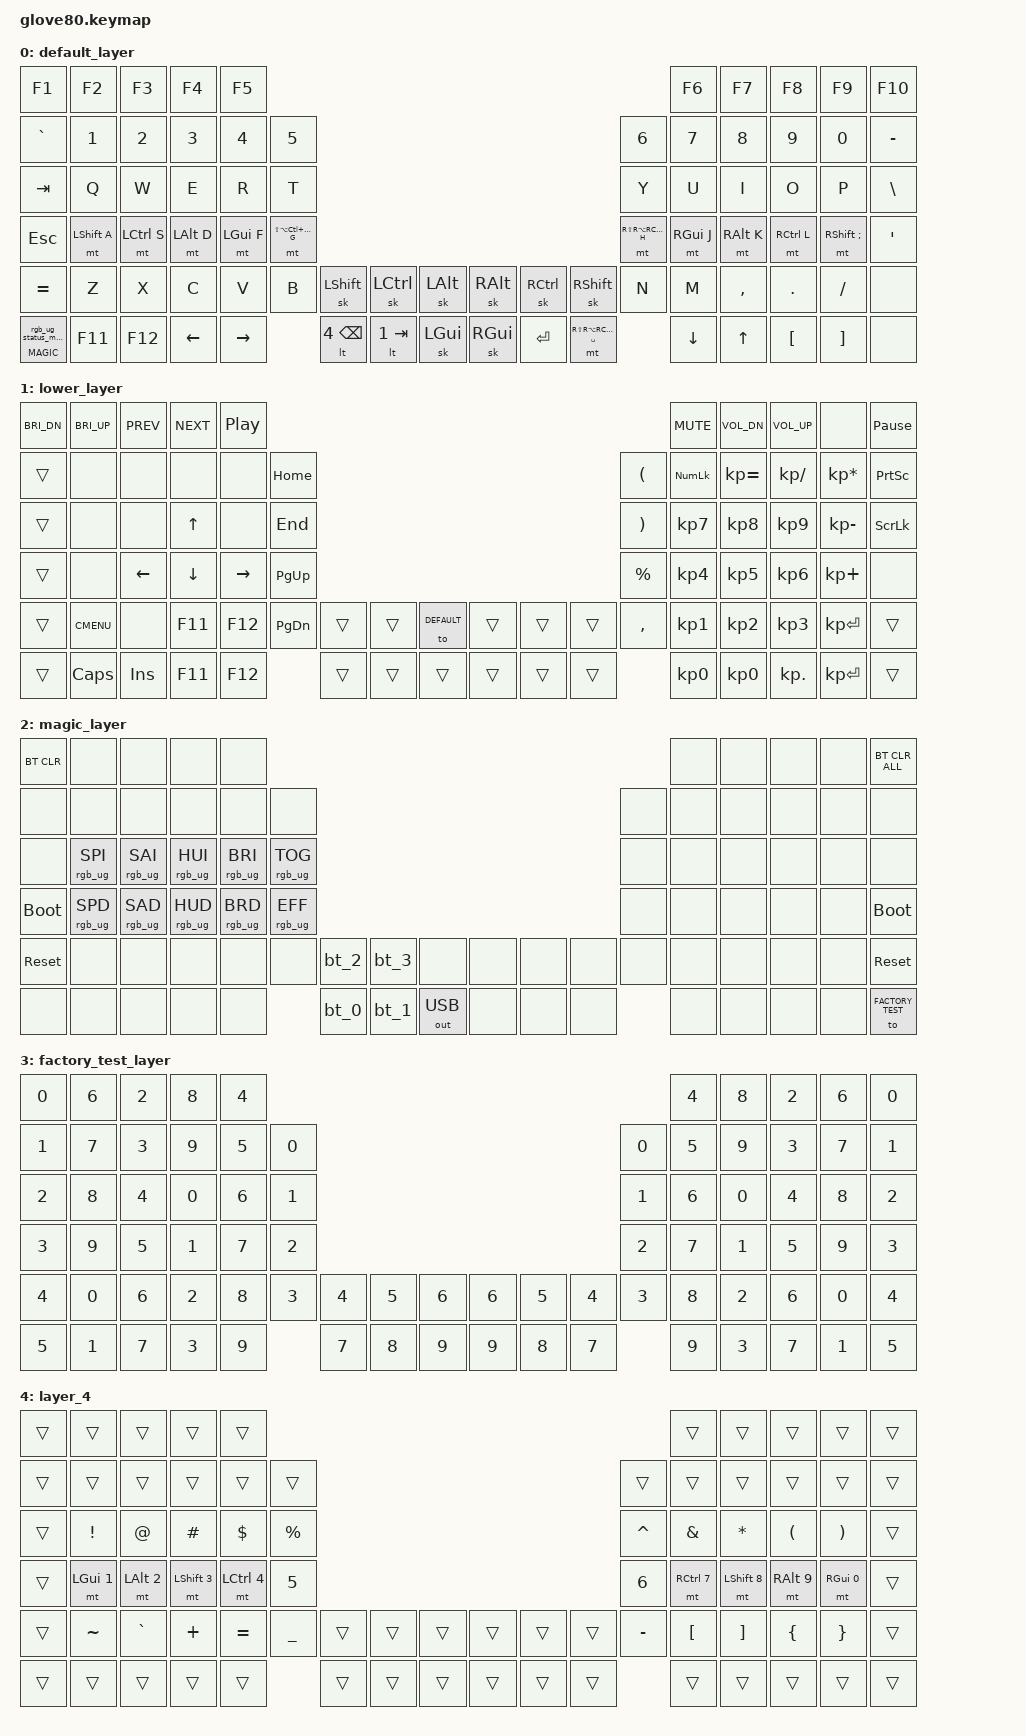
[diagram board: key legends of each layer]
/*
* Copyright (c) 2020 The ZMK Contributors
*
* SPDX-License-Identifier: MIT
*/

#include <behaviors.dtsi>
#include <dt-bindings/zmk/bt.h>
#include <dt-bindings/zmk/keys.h>
#include <dt-bindings/zmk/outputs.h>
#include <dt-bindings/zmk/rgb.h>

#define HYPER LC(LS(LG(LALT)))

// layers

#define DEFAULT 0
#define LOWER 1
#define MAGIC 2
#define FACTORY_TEST 3

/ {
    behaviors {
        // For the "layer" key, it'd nice to be able to use it as either a shift or a toggle.
        // Configure it as a tap dance, so the first tap (or hold) is a &mo and the second tap is a &to

        layer_td: tap_dance_0 {
            compatible = "zmk,behavior-tap-dance";
            label = "LAYER_TAP_DANCE";
            #binding-cells = <0>;
            tapping-term-ms = <200>;
            bindings = <&mo LOWER>, <&to LOWER>;
        };

        magic: magic_hold_tap {
            compatible = "zmk,behavior-hold-tap";
            label = "MAGIC_HOLD_TAP";
            #binding-cells = <2>;
            flavor = "tap-preferred";
            tapping-term-ms = <200>;
            bindings = <&mo>, <&rgb_ug_status_macro>;
        };

        mt: mod_tap {
            compatible = "zmk,behavior-hold-tap";
            label = "MOD_TAP";
            #binding-cells = <2>;
            flavor = "balanced";
            tapping-term-ms = <280>;
            quick-tap-ms = <175>;
            require-prior-idle-ms = <150>;
        };

        lt: layer_tap {
            compatible = "zmk,behavior-hold-tap";
            label = "LAYER_TAP";
            #binding-cells = <2>;
            flavor = "balanced";
            tapping-term-ms = <280>;
            quick-tap-ms = <175>;
            require-prior-idle-ms = <150>;
        };
    };

    macros {
        rgb_ug_status_macro: rgb_ug_status_macro_0 {
            label = "RGB_UG_STATUS";
            compatible = "zmk,behavior-macro";
            #binding-cells = <0>;
            bindings = <&rgb_ug RGB_STATUS>;
        };

        bt_0: bt_profile_macro_0 {
            label = "BT_0";
            compatible = "zmk,behavior-macro";
            #binding-cells = <0>;
            bindings = <&out OUT_BLE &bt BT_SEL 0>;
        };

        bt_1: bt_profile_macro_1 {
            label = "BT_1";
            compatible = "zmk,behavior-macro";
            #binding-cells = <0>;
            bindings = <&out OUT_BLE &bt BT_SEL 1>;
        };

        bt_2: bt_profile_macro_2 {
            label = "BT_2";
            compatible = "zmk,behavior-macro";
            #binding-cells = <0>;
            bindings = <&out OUT_BLE &bt BT_SEL 2>;
        };

        bt_3: bt_profile_macro_3 {
            label = "BT_3";
            compatible = "zmk,behavior-macro";
            #binding-cells = <0>;
            bindings = <&out OUT_BLE &bt BT_SEL 3>;
        };
    };

    keymap {
        compatible = "zmk,keymap";

        default_layer {
            // ---------------------------------------------------------------------------------------------------------------------------------
            // |  F1   |  F2 |  F3 |  F4  |  F5  |                                                               |  F6   |  F7   |  F8  |   F9  |  F10 |
            // |  =    |  1  |  2  |  3   |  4   |  5   |                                                 |  6   |   7   |   8   |  9   |   0   |   -  |
            // |  TAB  |  Q  |  W  |  E   |  R   |  T   |                                                 |  Y   |   U   |   I   |  O   |   P   |   \  |
            // |  ESC  |  A  |  S  |  D   |  F   |  G   |                                                 |  H   |   J   |   K   |  L   |   ;   |   '  |
            // |   `   |  Z  |  X  |  C   |  V   |  B   | LSHFT | LCTRL | LOWER | | LGUI  | RCTRL | RSHFT |  N   |   M   |   ,   |  .   |   /   | PGUP |
            // | MAGIC | HOME| END | LEFT | RIGHT|      | BSPC  | DEL   | LALT  | | RALT  | RET   | SPACE |      |  UP   | DOWN  |  [   |   ]   | PGDN |

            bindings = <
&kp F1          &kp F2       &kp F3       &kp F4      &kp F5                                                                                                                                                         &kp F6      &kp F7      &kp F8       &kp F9          &kp F10
&kp GRAVE       &kp N1       &kp N2       &kp N3      &kp N4      &kp N5                                                                                                                &kp N6                       &kp N7      &kp N8      &kp N9       &kp N0          &kp MINUS
&kp TAB         &kp Q        &kp W        &kp E       &kp R       &kp T                                                                                                                 &kp Y                        &kp U       &kp I       &kp O        &kp P           &kp BSLH
&kp ESC         &mt LSHFT A  &mt LCTRL S  &mt LALT D  &mt LGUI F  &mt LS(LA(LC(LG(LSHFT)))) G                                                                                           &mt RS(RA(RC(RG(RSHFT)))) H  &mt RGUI J  &mt RALT K  &mt RCTRL L  &mt RSHFT SEMI  &kp SQT
&kp EQUAL       &kp Z        &kp X        &kp C       &kp V       &kp B                        &sk LSHFT   &sk LCTRL  &sk LALT    &sk RALT  &sk RCTRL  &sk RSHFT                        &kp N                        &kp M       &kp COMMA   &kp DOT      &kp FSLH        &none
&magic MAGIC 0  &kp F11      &kp F12      &kp LEFT    &kp RIGHT                                &lt 4 BSPC  &lt 1 TAB  &sk LGUI    &sk RGUI  &kp RET    &mt RS(RA(RC(RG(RSHFT)))) SPACE                               &kp DOWN    &kp UP      &kp LBKT     &kp RBKT        &none
            >;
        };

        lower_layer {
            bindings = <
&kp C_BRI_DN  &kp C_BRI_UP  &kp C_PREV  &kp C_NEXT  &kp C_PP                                                                                &kp C_MUTE  &kp C_VOL_DN  &kp C_VOL_UP   &none            &kp PAUSE_BREAK
&trans        &none         &none       &none       &none      &kp HOME                                                          &kp LPAR   &kp KP_NUM  &kp KP_EQUAL  &kp KP_DIVIDE  &kp KP_MULTIPLY  &kp PSCRN
&trans        &none         &none       &kp UP      &none      &kp END                                                           &kp RPAR   &kp KP_N7   &kp KP_N8     &kp KP_N9      &kp KP_MINUS     &kp SLCK
&trans        &none         &kp LEFT    &kp DOWN    &kp RIGHT  &kp PG_UP                                                         &kp PRCNT  &kp KP_N4   &kp KP_N5     &kp KP_N6      &kp KP_PLUS      &none
&trans        &kp K_CMENU   &none       &kp F11     &kp F12    &kp PG_DN  &trans  &trans  &to DEFAULT    &trans  &trans  &trans  &kp COMMA  &kp KP_N1   &kp KP_N2     &kp KP_N3      &kp KP_ENTER     &trans
&trans        &kp CAPS      &kp INS     &kp F11     &kp F12               &trans  &trans  &trans         &trans  &trans  &trans             &kp KP_N0   &kp KP_N0     &kp KP_DOT     &kp KP_ENTER     &trans
            >;
        };

        magic_layer {
            bindings = <
&bt BT_CLR   &none            &none            &none            &none                                                                                       &none  &none  &none  &none  &bt BT_CLR_ALL
&none        &none            &none            &none            &none            &none                                                               &none  &none  &none  &none  &none  &none
&none        &rgb_ug RGB_SPI  &rgb_ug RGB_SAI  &rgb_ug RGB_HUI  &rgb_ug RGB_BRI  &rgb_ug RGB_TOG                                                     &none  &none  &none  &none  &none  &none
&bootloader  &rgb_ug RGB_SPD  &rgb_ug RGB_SAD  &rgb_ug RGB_HUD  &rgb_ug RGB_BRD  &rgb_ug RGB_EFF                                                     &none  &none  &none  &none  &none  &bootloader
&sys_reset   &none            &none            &none            &none            &none            &bt_2  &bt_3  &none           &none  &none  &none  &none  &none  &none  &none  &none  &sys_reset
&none        &none            &none            &none            &none                             &bt_0  &bt_1  &out OUT_USB    &none  &none  &none         &none  &none  &none  &none  &to FACTORY_TEST
            >;
        };

        factory_test_layer {
            bindings = <
&kp N0  &kp N6  &kp N2  &kp N8  &kp N4                                                                    &kp N4  &kp N8  &kp N2  &kp N6  &kp N0
&kp N1  &kp N7  &kp N3  &kp N9  &kp N5  &kp N0                                                    &kp N0  &kp N5  &kp N9  &kp N3  &kp N7  &kp N1
&kp N2  &kp N8  &kp N4  &kp N0  &kp N6  &kp N1                                                    &kp N1  &kp N6  &kp N0  &kp N4  &kp N8  &kp N2
&kp N3  &kp N9  &kp N5  &kp N1  &kp N7  &kp N2                                                    &kp N2  &kp N7  &kp N1  &kp N5  &kp N9  &kp N3
&kp N4  &kp N0  &kp N6  &kp N2  &kp N8  &kp N3  &kp N4  &kp N5  &kp N6    &kp N6  &kp N5  &kp N4  &kp N3  &kp N8  &kp N2  &kp N6  &kp N0  &kp N4
&kp N5  &kp N1  &kp N7  &kp N3  &kp N9          &kp N7  &kp N8  &kp N9    &kp N9  &kp N8  &kp N7          &kp N9  &kp N3  &kp N7  &kp N1  &kp N5
            >;
        };

        layer_4 {
            bindings = <
&trans  &trans       &trans       &trans        &trans                                                                                  &trans            &trans             &trans                &trans                 &trans
&trans  &trans       &trans       &trans        &trans        &trans                                                         &trans     &trans            &trans             &trans                &trans                 &trans
&trans  &kp EXCL     &kp AT       &kp HASH      &kp DOLLAR    &kp PERCENT                                                    &kp CARET  &kp AMPERSAND     &kp ASTRK          &kp LEFT_PARENTHESIS  &kp RIGHT_PARENTHESIS  &trans
&trans  &mt LGUI N1  &mt LALT N2  &mt LSHFT N3  &mt LCTRL N4  &kp N5                                                         &kp N6     &mt RCTRL N7      &mt LSHFT N8       &mt RALT N9           &mt RGUI N0            &trans
&trans  &kp TILDE    &kp GRAVE    &kp PLUS      &kp EQUAL     &kp UNDER    &trans  &trans  &trans    &trans  &trans  &trans  &kp MINUS  &kp LEFT_BRACKET  &kp RIGHT_BRACKET  &kp LEFT_BRACE        &kp RIGHT_BRACE        &trans
&trans  &trans       &trans       &trans        &trans                     &trans  &trans  &trans    &trans  &trans  &trans             &trans            &trans             &trans                &trans                 &trans
            >;
        };
    };
};
